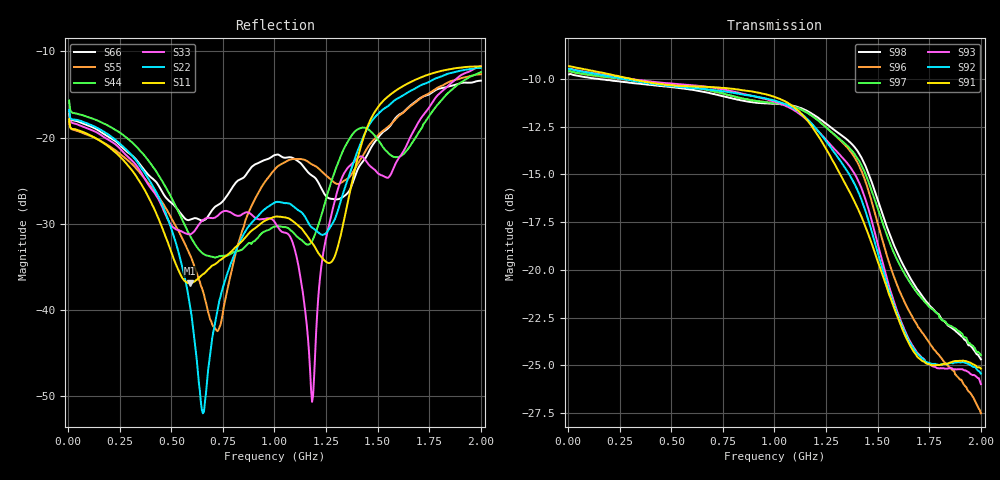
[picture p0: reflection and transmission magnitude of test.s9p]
! Mini-Circuits
! S9P DATA File Format
! Type: 8 Way 0 degree Power Splitter
! Model: JCPS-8-10+
! PINOUT: SUMPORT=PORT9 , OUT1 PORT=PORT1 , OUT2 PORT=PORT2 , OUT3 PORT=PORT3 , OUT4 PORT=PORT4 , OUT5 PORT=PORT5 , OUT6 PORT=PORT6 , OUT7 PORT=PORT7 , OUT8 PORT=PORT8
! TEST CONDITIONS: INPUT POWER = 0 dBm @ Temperature = + 25 deg C
! 401 Frequency points
! All S Parameters are in dB deg format
! Created with skrf (http://scikit-rf.org).
# MHz S RI R 50.0
!freq ReS11 ImS11 ReS12 ImS12 ReS13 ImS13
! ReS14 ImS14 ReS15 ImS15 ReS16 ImS16 ReS17 ImS17
! ReS18 ImS18 ReS19 ImS19
! ReS21 ImS21 ReS22 ImS22 ReS23 ImS23
! ReS24 ImS24 ReS25 ImS25 ReS26 ImS26 ReS27 ImS27
! ReS28 ImS28 ReS29 ImS29
! ReS31 ImS31 ReS32 ImS32 ReS33 ImS33
! ReS34 ImS34 ReS35 ImS35 ReS36 ImS36 ReS37 ImS37
! ReS38 ImS38 ReS39 ImS39
! ReS41 ImS41 ReS42 ImS42 ReS43 ImS43
! ReS44 ImS44 ReS45 ImS45 ReS46 ImS46 ReS47 ImS47
! ReS48 ImS48 ReS49 ImS49
! ReS51 ImS51 ReS52 ImS52 ReS53 ImS53
! ReS54 ImS54 ReS55 ImS55 ReS56 ImS56 ReS57 ImS57
! ReS58 ImS58 ReS59 ImS59
! ReS61 ImS61 ReS62 ImS62 ReS63 ImS63
! ReS64 ImS64 ReS65 ImS65 ReS66 ImS66 ReS67 ImS67
! ReS68 ImS68 ReS69 ImS69
! ReS71 ImS71 ReS72 ImS72 ReS73 ImS73
! ReS74 ImS74 ReS75 ImS75 ReS76 ImS76 ReS77 ImS77
! ReS78 ImS78 ReS79 ImS79
! ReS81 ImS81 ReS82 ImS82 ReS83 ImS83
! ReS84 ImS84 ReS85 ImS85 ReS86 ImS86 ReS87 ImS87
! ReS88 ImS88 ReS89 ImS89
! ReS91 ImS91 ReS92 ImS92 ReS93 ImS93
! ReS94 ImS94 ReS95 ImS95 ReS96 ImS96 ReS97 ImS97
! ReS98 ImS98 ReS99 ImS99
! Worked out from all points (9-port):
!   401 points, 5 MHz to 2 GHz, reference 50 ohm
!   strongest paths, dB at 5 MHz, 503.8 MHz, 1 GHz, 1.501 GHz, 2 GHz:
!     S91: -9.3, -10.3, -10.9, -19.6, -25.2
!     S92: -9.5, -10.4, -11.1, -19.1, -25.4
!     S93: -9.5, -10.2, -11.2, -18.7, -26.0
!     S97: -9.6, -10.3, -11.3, -16.8, -24.5
!     S96: -9.6, -10.3, -11.3, -17.6, -27.5
!     S98: -9.8, -10.4, -11.3, -16.4, -24.7
!   lowest |S11| = -36.9 dB at 588.5 MHz (marker M1), VSWR 1.03, Z = 49.6 + j1.37 ohm
!   |S11| at or under -10 dB: start of sweep to end of sweep
